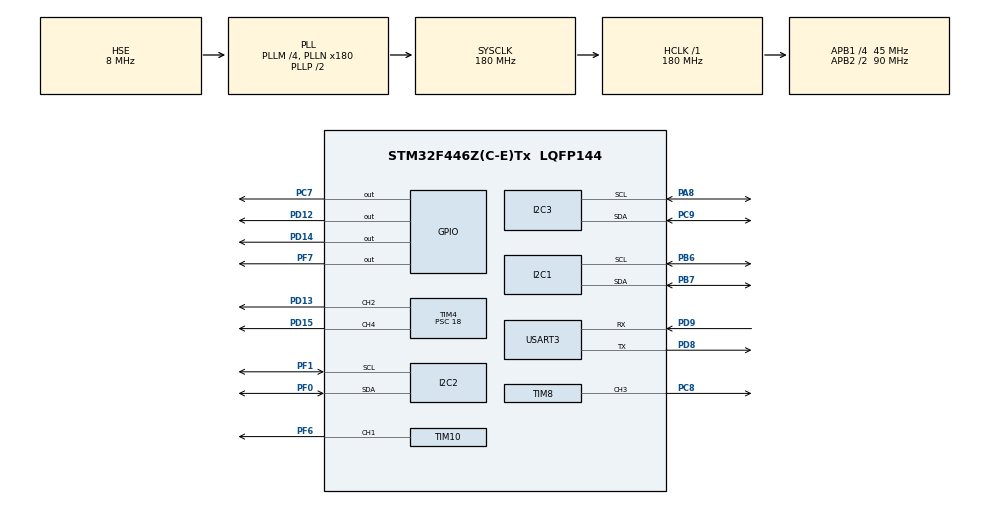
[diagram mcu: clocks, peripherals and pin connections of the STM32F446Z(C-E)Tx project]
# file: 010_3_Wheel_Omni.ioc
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Mcu.Family=STM32F4
Mcu.Name=STM32F446Z(C-E)Tx
Mcu.Package=LQFP144
NVIC.PriorityGroup=NVIC_PRIORITYGROUP_4
PA13.Mode=Serial_Wire
PA13.Signal=SYS_JTMS-SWDIO
PA14.Mode=Serial_Wire
PA14.Signal=SYS_JTCK-SWCLK
PA8.Mode=I2C
PA8.Signal=I2C3_SCL
PB6.Mode=I2C
PB6.Signal=I2C1_SCL
PB7.Mode=I2C
PB7.Signal=I2C1_SDA
PC14-OSC32_IN.Mode=LSE-External-Oscillator
PC14-OSC32_IN.Signal=RCC_OSC32_IN
PC15-OSC32_OUT.Mode=LSE-External-Oscillator
PC15-OSC32_OUT.Signal=RCC_OSC32_OUT
PC7.Signal=GPIO_Output
PC8.Signal=S_TIM8_CH3
PC9.Mode=I2C
PC9.Signal=I2C3_SDA
PD12.Signal=GPIO_Output
PD13.Signal=S_TIM4_CH2
PD14.Signal=GPIO_Output
PD15.Signal=S_TIM4_CH4
PD8.Mode=Asynchronous
PD8.Signal=USART3_TX
PD9.Mode=Asynchronous
PD9.Signal=USART3_RX
PF0.Mode=I2C
PF0.Signal=I2C2_SDA
PF1.Mode=I2C
PF1.Signal=I2C2_SCL
PF6.Signal=S_TIM10_CH1
PF7.Signal=GPIO_Output
PH0-OSC_IN.Mode=HSE-External-Oscillator
PH0-OSC_IN.Signal=RCC_OSC_IN
PH1-OSC_OUT.Mode=HSE-External-Oscillator
PH1-OSC_OUT.Signal=RCC_OSC_OUT
ProjectManager.HeapSize=0x200
ProjectManager.StackSize=0x400
ProjectManager.TargetToolchain=STM32CubeIDE
RCC.48MHZClocksFreq_Value=24000000
RCC.AHBFreq_Value=180000000
RCC.APB1CLKDivider=RCC_HCLK_DIV4
RCC.APB1Freq_Value=45000000
RCC.APB1TimFreq_Value=90000000
RCC.APB2CLKDivider=RCC_HCLK_DIV2
RCC.APB2Freq_Value=90000000
RCC.APB2TimFreq_Value=180000000
RCC.CortexFreq_Value=180000000
RCC.HCLKFreq_Value=180000000
RCC.HSE_VALUE=8000000
RCC.HSI_VALUE=16000000
RCC.PLLM=4
RCC.PLLMUL=RCC_PLL_MUL9
RCC.PLLN=180
RCC.PLLQ=7
RCC.PLLSourceVirtual=RCC_PLLSOURCE_HSE
RCC.PRESCALERUSB=RCC_USBCLKSOURCE_PLL_DIV1_5
RCC.SYSCLKFreq_VALUE=180000000
RCC.SYSCLKSource=RCC_SYSCLKSOURCE_PLLCLK
RCC.SYSCLKSourceVirtual=RCC_SYSCLKSOURCE_PLLCLK
RCC.USBFreq_Value=51428571.428571425
RCC.VCOOutputFreq_Value=360000000
SH.S_TIM10_CH1.0=TIM10_CH1,PWM Generation1 CH1
SH.S_TIM4_CH2.0=TIM4_CH2,PWM Generation2 CH2
SH.S_TIM4_CH4.0=TIM4_CH4,PWM Generation4 CH4
SH.S_TIM8_CH3.0=TIM8_CH3,PWM Generation3 CH3
TIM10.Channel=TIM_CHANNEL_1
TIM10.Period=254
TIM10.Prescaler=36
TIM4.Channel-PWM\ Generation2\ CH2=TIM_CHANNEL_2
TIM4.Channel-PWM\ Generation4\ CH4=TIM_CHANNEL_4
TIM4.Period=254
TIM4.Prescaler=18
TIM8.Channel-PWM\ Generation3\ CH3=TIM_CHANNEL_3
TIM8.Period=254
TIM8.Prescaler=36
USART3.VirtualMode=VM_ASYNC
VP_TIM10_VS_ClockSourceINT.Mode=Enable_Timer
VP_TIM4_VS_ClockSourceINT.Mode=Internal
VP_TIM8_VS_ClockSourceINT.Mode=Internal
board=NUCLEO-F446ZE

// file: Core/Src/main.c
/* USER CODE BEGIN Header */
/**
  ******************************************************************************
  * @file           : main.c
  * @brief          : Main program body
  ******************************************************************************
  * @attention
  *
  * Copyright (c) 2026 STMicroelectronics.
  * All rights reserved.
  *
  * This software is licensed under terms that can be found in the LICENSE file
  * in the root directory of this software component.
  * If no LICENSE file comes with this software, it is provided AS-IS.
  *
  ******************************************************************************
  */
/* USER CODE END Header */
#include "main.h"

/* USER CODE BEGIN Includes */
#include "Cytron.h"
#include "BNO055_STM32.h"
#include <string.h>
#include <math.h>
/* USER CODE END Includes */

/* USER CODE BEGIN PTD */
Cytron m1,m2,m3;
/* USER CODE END PTD */

/* USER CODE BEGIN PD */
int8_t psdata[3] = {0};
int8_t Vx , Vy , w = 0;
float V1 = 0, V2 = 0, V3 = 0;
float r = 1;
float radian;
float theta;
float Vgx, Vgy;

// PID Variables
float kP = 3.5, kI = 0.0 , kD = 300.0;
float targetAngle = 0;
float currentAngle = 0, error = 0, errorOld = 0, errorSum = 0, errorRate = 0;
float pidOutput = 0;
float pidCorrection = 0;
int milliold = 0, millinew = 0, dt = 0;
#define constrain(amt,low,high) ((amt)<(low)?(low):((amt)>(high)?(high):(amt)))

/* USER CODE END PD */

I2C_HandleTypeDef hi2c1;
I2C_HandleTypeDef hi2c2;
I2C_HandleTypeDef hi2c3;

TIM_HandleTypeDef htim4;
TIM_HandleTypeDef htim8;
TIM_HandleTypeDef htim10;

UART_HandleTypeDef huart3;

void SystemClock_Config(void);
static void MX_GPIO_Init(void);
static void MX_USART3_UART_Init(void);
static void MX_I2C1_Init(void);
static void MX_I2C2_Init(void);
static void MX_TIM4_Init(void);
static void MX_I2C3_Init(void);
static void MX_TIM10_Init(void);
static void MX_TIM8_Init(void);

/* USER CODE BEGIN 0 */
long map(long x, long in_min, long in_max, long out_min, long out_max)
{
  return (x - in_min) * (out_max - out_min) / (in_max - in_min) + out_min;
}

float normalizeAngle(float angle) {
  while (angle > 180) angle -= 360;
  while (angle <= -180) angle += 360;
  return angle;
}

void getdata(){
	HAL_I2C_Master_Receive(&hi2c1, 0x04 << 1,(uint8_t*)psdata, sizeof(psdata), 100);
	Vx = psdata[0];
	Vy = psdata[1];
	 w = psdata[2];

//	  char buffer[20];
//	for (uint8_t i = 0; i < sizeof(psdata); i++)
//		  {
//		      sprintf(buffer, "%d ", psdata[i]);
//		      HAL_UART_Transmit(&huart3, (uint8_t*)buffer, strlen(buffer), HAL_MAX_DELAY);
//		  }
//
//		  char newline[] = "\r\n";
//		  HAL_UART_Transmit(&huart3, (uint8_t*)newline, strlen(newline), HAL_MAX_DELAY);
}

void PID() {
  error = normalizeAngle(targetAngle - currentAngle);

  if (abs(error) <= 1) {
    error = 0;
    errorSum = 0;
    errorRate = 0;
    pidOutput = 0;
  }

  milliold = millinew;
  millinew = HAL_GetTick();
  dt = millinew - milliold;

  errorSum += error * dt;
  errorRate = (error - errorOld) / dt;
  pidOutput = kP * error + kI * errorSum + kD * errorRate;
  errorOld = error;

  if (pidOutput <= 10 && pidOutput > 0) {
    pidOutput = 10;
  } else if (pidOutput >= -15 && pidOutput < 0) {
    pidOutput = -10;
  } else {
    pidOutput = pidOutput;
  }

  pidOutput = constrain(pidOutput, -100, 100);

  if (w != 0) {
  targetAngle = normalizeAngle(currentAngle);
  // Let joystick take full control — PID skipped
   } else {
  if (fabs(error) <= 1.0) {
    pidOutput = 0;
    error = 0;
    errorSum = 0;
    errorRate = 0;
  }
}
}
/* USER CODE END 0 */

int main(void)
{

  /* MCU Configuration--------------------------------------------------------*/

  /* Reset of all peripherals, Initializes the Flash interface and the Systick. */
  HAL_Init();

  /* Configure the system clock */
  SystemClock_Config();

  /* Initialize all configured peripherals */
  MX_GPIO_Init();
  MX_USART3_UART_Init();
  MX_I2C1_Init();
  MX_I2C2_Init();
  MX_TIM4_Init();
  MX_I2C3_Init();
  MX_TIM10_Init();
  MX_TIM8_Init();
  /* USER CODE BEGIN 2 */

  InitCytron(&m1, &htim8, TIM_CHANNEL_3, GPIOC, GPIO_PIN_7, 0);   // DIR PF6   PWM PF7
  InitCytron(&m2, &htim4, TIM_CHANNEL_2, GPIOD, GPIO_PIN_12, 1);   // DIR PD13  PWM PD12
  InitCytron(&m3, &htim4, TIM_CHANNEL_4, GPIOD, GPIO_PIN_14, 1);   // DIR PD15  PWM PD14
  bno055_assignI2C(&hi2c2);
  bno055_setup();
  bno055_setOperationModeNDOF();
  millinew  = HAL_GetTick();

//  HAL_Delay(3000);

  /* USER CODE END 2 */

  /* Infinite loop */
  while (1)
  {

    /* USER CODE BEGIN 3 */
	   bno055_vector_t v = bno055_getVectorEuler();
	   currentAngle = normalizeAngle(v.x);
	   theta = normalizeAngle(v.x);

	   char buffer[60];
	   snprintf(buffer, sizeof(buffer), "Heading: %.2f  Roll: %.2f  Pitch: %.2f\r\n", v.x, v.y, v.z);

	   HAL_UART_Transmit(&huart3, (uint8_t*)buffer,strlen(buffer), HAL_MAX_DELAY);
	   HAL_Delay(10);
	   getdata();
	   PID();

	   //Global Equation
	   w = map(w, -127, 127, -50, 50);
	   radian = theta * (3.1415 / 180.0);
	   Vgx = (cos(radian) * Vx) - (sin(radian) * Vy);
	   Vgy = (sin(radian) * Vx) + (cos(radian) * Vy);

//	   float velo_const = 1.2;
//	   if(abs(pidOutput) >= 1){
		 float  velo_const = 1.2;
//	   }

	   V1 = velo_const * ((w * r) + Vgx + pidOutput);
	   V2 = velo_const * ((w * r) + (-Vgx / 2) + ((-Vgy) * 1.15470) + pidOutput);
	   V3 = velo_const * ((w * r) + (-Vgx / 2) + ((Vgy)*1.15470) + pidOutput);
//
//	   char buffer[60];
//	 	   snprintf(buffer, sizeof(buffer), "V1: %.2f  V2: %.2f  V3: %.2f\r\n", V1, V2, V3);
//
//	 	   HAL_UART_Transmit(&huart3, (uint8_t*)buffer,strlen(buffer), HAL_MAX_DELAY);
//	 	   HAL_Delay(10);

	    RotateMoter(&m1, V1);
	    RotateMoter(&m2, V2);
	    RotateMoter(&m3, V3);

	    HAL_Delay(10);

  }
  /* USER CODE END 3 */
}

void SystemClock_Config(void)
{
  RCC_OscInitTypeDef RCC_OscInitStruct = {0};
  RCC_ClkInitTypeDef RCC_ClkInitStruct = {0};

  /** Configure the main internal regulator output voltage
  */
  __HAL_RCC_PWR_CLK_ENABLE();
  __HAL_PWR_VOLTAGESCALING_CONFIG(PWR_REGULATOR_VOLTAGE_SCALE1);

  /** Initializes the RCC Oscillators according to the specified parameters
  * in the RCC_OscInitTypeDef structure.
  */
  RCC_OscInitStruct.OscillatorType = RCC_OSCILLATORTYPE_HSE;
  RCC_OscInitStruct.HSEState = RCC_HSE_ON;
  RCC_OscInitStruct.PLL.PLLState = RCC_PLL_ON;
  RCC_OscInitStruct.PLL.PLLSource = RCC_PLLSOURCE_HSE;
  RCC_OscInitStruct.PLL.PLLM = 4;
  RCC_OscInitStruct.PLL.PLLN = 180;
  RCC_OscInitStruct.PLL.PLLP = RCC_PLLP_DIV2;
  RCC_OscInitStruct.PLL.PLLQ = 7;
  RCC_OscInitStruct.PLL.PLLR = 2;
  if (HAL_RCC_OscConfig(&RCC_OscInitStruct) != HAL_OK)
  {
    Error_Handler();
  }

  /** Activate the Over-Drive mode
  */
  if (HAL_PWREx_EnableOverDrive() != HAL_OK)
  {
    Error_Handler();
  }

  /** Initializes the CPU, AHB and APB buses clocks
  */
  RCC_ClkInitStruct.ClockType = RCC_CLOCKTYPE_HCLK|RCC_CLOCKTYPE_SYSCLK
                              |RCC_CLOCKTYPE_PCLK1|RCC_CLOCKTYPE_PCLK2;
  RCC_ClkInitStruct.SYSCLKSource = RCC_SYSCLKSOURCE_PLLCLK;
  RCC_ClkInitStruct.AHBCLKDivider = RCC_SYSCLK_DIV1;
  RCC_ClkInitStruct.APB1CLKDivider = RCC_HCLK_DIV4;
  RCC_ClkInitStruct.APB2CLKDivider = RCC_HCLK_DIV2;

  if (HAL_RCC_ClockConfig(&RCC_ClkInitStruct, FLASH_LATENCY_5) != HAL_OK)
  {
    Error_Handler();
  }
}

static void MX_I2C1_Init(void)
{

  hi2c1.Instance = I2C1;
  hi2c1.Init.ClockSpeed = 100000;
  hi2c1.Init.DutyCycle = I2C_DUTYCYCLE_2;
  hi2c1.Init.OwnAddress1 = 0;
  hi2c1.Init.AddressingMode = I2C_ADDRESSINGMODE_7BIT;
  hi2c1.Init.DualAddressMode = I2C_DUALADDRESS_DISABLE;
  hi2c1.Init.OwnAddress2 = 0;
  hi2c1.Init.GeneralCallMode = I2C_GENERALCALL_DISABLE;
  hi2c1.Init.NoStretchMode = I2C_NOSTRETCH_DISABLE;
  if (HAL_I2C_Init(&hi2c1) != HAL_OK)
  {
    Error_Handler();
  }

}

static void MX_I2C2_Init(void)
{

  hi2c2.Instance = I2C2;
  hi2c2.Init.ClockSpeed = 100000;
  hi2c2.Init.DutyCycle = I2C_DUTYCYCLE_2;
  hi2c2.Init.OwnAddress1 = 0;
  hi2c2.Init.AddressingMode = I2C_ADDRESSINGMODE_7BIT;
  hi2c2.Init.DualAddressMode = I2C_DUALADDRESS_DISABLE;
  hi2c2.Init.OwnAddress2 = 0;
  hi2c2.Init.GeneralCallMode = I2C_GENERALCALL_DISABLE;
  hi2c2.Init.NoStretchMode = I2C_NOSTRETCH_DISABLE;
  if (HAL_I2C_Init(&hi2c2) != HAL_OK)
  {
    Error_Handler();
  }

}

static void MX_I2C3_Init(void)
{

  hi2c3.Instance = I2C3;
  hi2c3.Init.ClockSpeed = 100000;
  hi2c3.Init.DutyCycle = I2C_DUTYCYCLE_2;
  hi2c3.Init.OwnAddress1 = 0;
  hi2c3.Init.AddressingMode = I2C_ADDRESSINGMODE_7BIT;
  hi2c3.Init.DualAddressMode = I2C_DUALADDRESS_DISABLE;
  hi2c3.Init.OwnAddress2 = 0;
  hi2c3.Init.GeneralCallMode = I2C_GENERALCALL_DISABLE;
  hi2c3.Init.NoStretchMode = I2C_NOSTRETCH_DISABLE;
  if (HAL_I2C_Init(&hi2c3) != HAL_OK)
  {
    Error_Handler();
  }

}

static void MX_TIM4_Init(void)
{

  TIM_ClockConfigTypeDef sClockSourceConfig = {0};
  TIM_MasterConfigTypeDef sMasterConfig = {0};
  TIM_OC_InitTypeDef sConfigOC = {0};

  htim4.Instance = TIM4;
  htim4.Init.Prescaler = 18;
  htim4.Init.CounterMode = TIM_COUNTERMODE_UP;
  htim4.Init.Period = 254;
  htim4.Init.ClockDivision = TIM_CLOCKDIVISION_DIV1;
  htim4.Init.AutoReloadPreload = TIM_AUTORELOAD_PRELOAD_DISABLE;
  if (HAL_TIM_Base_Init(&htim4) != HAL_OK)
  {
    Error_Handler();
  }
  sClockSourceConfig.ClockSource = TIM_CLOCKSOURCE_INTERNAL;
  if (HAL_TIM_ConfigClockSource(&htim4, &sClockSourceConfig) != HAL_OK)
  {
    Error_Handler();
  }
  if (HAL_TIM_PWM_Init(&htim4) != HAL_OK)
  {
    Error_Handler();
  }
  sMasterConfig.MasterOutputTrigger = TIM_TRGO_RESET;
  sMasterConfig.MasterSlaveMode = TIM_MASTERSLAVEMODE_DISABLE;
  if (HAL_TIMEx_MasterConfigSynchronization(&htim4, &sMasterConfig) != HAL_OK)
  {
    Error_Handler();
  }
  sConfigOC.OCMode = TIM_OCMODE_PWM1;
  sConfigOC.Pulse = 0;
  sConfigOC.OCPolarity = TIM_OCPOLARITY_HIGH;
  sConfigOC.OCFastMode = TIM_OCFAST_DISABLE;
  if (HAL_TIM_PWM_ConfigChannel(&htim4, &sConfigOC, TIM_CHANNEL_2) != HAL_OK)
  {
    Error_Handler();
  }
  if (HAL_TIM_PWM_ConfigChannel(&htim4, &sConfigOC, TIM_CHANNEL_4) != HAL_OK)
  {
    Error_Handler();
  }
  HAL_TIM_MspPostInit(&htim4);

}

static void MX_TIM8_Init(void)
{

  TIM_ClockConfigTypeDef sClockSourceConfig = {0};
  TIM_MasterConfigTypeDef sMasterConfig = {0};
  TIM_OC_InitTypeDef sConfigOC = {0};
  TIM_BreakDeadTimeConfigTypeDef sBreakDeadTimeConfig = {0};

  htim8.Instance = TIM8;
  htim8.Init.Prescaler = 36;
  htim8.Init.CounterMode = TIM_COUNTERMODE_UP;
  htim8.Init.Period = 254;
  htim8.Init.ClockDivision = TIM_CLOCKDIVISION_DIV1;
  htim8.Init.RepetitionCounter = 0;
  htim8.Init.AutoReloadPreload = TIM_AUTORELOAD_PRELOAD_DISABLE;
  if (HAL_TIM_Base_Init(&htim8) != HAL_OK)
  {
    Error_Handler();
  }
  sClockSourceConfig.ClockSource = TIM_CLOCKSOURCE_INTERNAL;
  if (HAL_TIM_ConfigClockSource(&htim8, &sClockSourceConfig) != HAL_OK)
  {
    Error_Handler();
  }
  if (HAL_TIM_PWM_Init(&htim8) != HAL_OK)
  {
    Error_Handler();
  }
  sMasterConfig.MasterOutputTrigger = TIM_TRGO_RESET;
  sMasterConfig.MasterSlaveMode = TIM_MASTERSLAVEMODE_DISABLE;
  if (HAL_TIMEx_MasterConfigSynchronization(&htim8, &sMasterConfig) != HAL_OK)
  {
    Error_Handler();
  }
  sConfigOC.OCMode = TIM_OCMODE_PWM1;
  sConfigOC.Pulse = 0;
  sConfigOC.OCPolarity = TIM_OCPOLARITY_HIGH;
  sConfigOC.OCNPolarity = TIM_OCNPOLARITY_HIGH;
  sConfigOC.OCFastMode = TIM_OCFAST_DISABLE;
  sConfigOC.OCIdleState = TIM_OCIDLESTATE_RESET;
  sConfigOC.OCNIdleState = TIM_OCNIDLESTATE_RESET;
  if (HAL_TIM_PWM_ConfigChannel(&htim8, &sConfigOC, TIM_CHANNEL_3) != HAL_OK)
  {
    Error_Handler();
  }
  sBreakDeadTimeConfig.OffStateRunMode = TIM_OSSR_DISABLE;
  sBreakDeadTimeConfig.OffStateIDLEMode = TIM_OSSI_DISABLE;
  sBreakDeadTimeConfig.LockLevel = TIM_LOCKLEVEL_OFF;
  sBreakDeadTimeConfig.DeadTime = 0;
  sBreakDeadTimeConfig.BreakState = TIM_BREAK_DISABLE;
  sBreakDeadTimeConfig.BreakPolarity = TIM_BREAKPOLARITY_HIGH;
  sBreakDeadTimeConfig.AutomaticOutput = TIM_AUTOMATICOUTPUT_DISABLE;
  if (HAL_TIMEx_ConfigBreakDeadTime(&htim8, &sBreakDeadTimeConfig) != HAL_OK)
  {
    Error_Handler();
  }
  HAL_TIM_MspPostInit(&htim8);

}

static void MX_TIM10_Init(void)
{

  TIM_OC_InitTypeDef sConfigOC = {0};

  htim10.Instance = TIM10;
  htim10.Init.Prescaler = 36;
  htim10.Init.CounterMode = TIM_COUNTERMODE_UP;
  htim10.Init.Period = 254;
  htim10.Init.ClockDivision = TIM_CLOCKDIVISION_DIV1;
  htim10.Init.AutoReloadPreload = TIM_AUTORELOAD_PRELOAD_DISABLE;
  if (HAL_TIM_Base_Init(&htim10) != HAL_OK)
  {
    Error_Handler();
  }
  if (HAL_TIM_PWM_Init(&htim10) != HAL_OK)
  {
    Error_Handler();
  }
  sConfigOC.OCMode = TIM_OCMODE_PWM1;
  sConfigOC.Pulse = 0;
  sConfigOC.OCPolarity = TIM_OCPOLARITY_HIGH;
  sConfigOC.OCFastMode = TIM_OCFAST_DISABLE;
  if (HAL_TIM_PWM_ConfigChannel(&htim10, &sConfigOC, TIM_CHANNEL_1) != HAL_OK)
  {
    Error_Handler();
  }
  HAL_TIM_MspPostInit(&htim10);

}

static void MX_USART3_UART_Init(void)
{

  huart3.Instance = USART3;
  huart3.Init.BaudRate = 115200;
  huart3.Init.WordLength = UART_WORDLENGTH_8B;
  huart3.Init.StopBits = UART_STOPBITS_1;
  huart3.Init.Parity = UART_PARITY_NONE;
  huart3.Init.Mode = UART_MODE_TX_RX;
  huart3.Init.HwFlowCtl = UART_HWCONTROL_NONE;
  huart3.Init.OverSampling = UART_OVERSAMPLING_16;
  if (HAL_UART_Init(&huart3) != HAL_OK)
  {
    Error_Handler();
  }

}

static void MX_GPIO_Init(void)
{
  GPIO_InitTypeDef GPIO_InitStruct = {0};

  /* GPIO Ports Clock Enable */
  __HAL_RCC_GPIOC_CLK_ENABLE();
  __HAL_RCC_GPIOF_CLK_ENABLE();
  __HAL_RCC_GPIOH_CLK_ENABLE();
  __HAL_RCC_GPIOD_CLK_ENABLE();
  __HAL_RCC_GPIOA_CLK_ENABLE();
  __HAL_RCC_GPIOB_CLK_ENABLE();

  /*Configure GPIO pin Output Level */
  HAL_GPIO_WritePin(GPIOF, GPIO_PIN_7, GPIO_PIN_RESET);

  /*Configure GPIO pin Output Level */
  HAL_GPIO_WritePin(GPIOD, GPIO_PIN_12|GPIO_PIN_14, GPIO_PIN_RESET);

  /*Configure GPIO pin Output Level */
  HAL_GPIO_WritePin(GPIOC, GPIO_PIN_7, GPIO_PIN_RESET);

  /*Configure GPIO pin : PF7 */
  GPIO_InitStruct.Pin = GPIO_PIN_7;
  GPIO_InitStruct.Mode = GPIO_MODE_OUTPUT_PP;
  GPIO_InitStruct.Pull = GPIO_NOPULL;
  GPIO_InitStruct.Speed = GPIO_SPEED_FREQ_LOW;
  HAL_GPIO_Init(GPIOF, &GPIO_InitStruct);

  /*Configure GPIO pins : PD12 PD14 */
  GPIO_InitStruct.Pin = GPIO_PIN_12|GPIO_PIN_14;
  GPIO_InitStruct.Mode = GPIO_MODE_OUTPUT_PP;
  GPIO_InitStruct.Pull = GPIO_NOPULL;
  GPIO_InitStruct.Speed = GPIO_SPEED_FREQ_LOW;
  HAL_GPIO_Init(GPIOD, &GPIO_InitStruct);

  /*Configure GPIO pin : PC7 */
  GPIO_InitStruct.Pin = GPIO_PIN_7;
  GPIO_InitStruct.Mode = GPIO_MODE_OUTPUT_PP;
  GPIO_InitStruct.Pull = GPIO_NOPULL;
  GPIO_InitStruct.Speed = GPIO_SPEED_FREQ_LOW;
  HAL_GPIO_Init(GPIOC, &GPIO_InitStruct);

}

void Error_Handler(void)
{
  __disable_irq();
  while (1)
  {
  }
}
